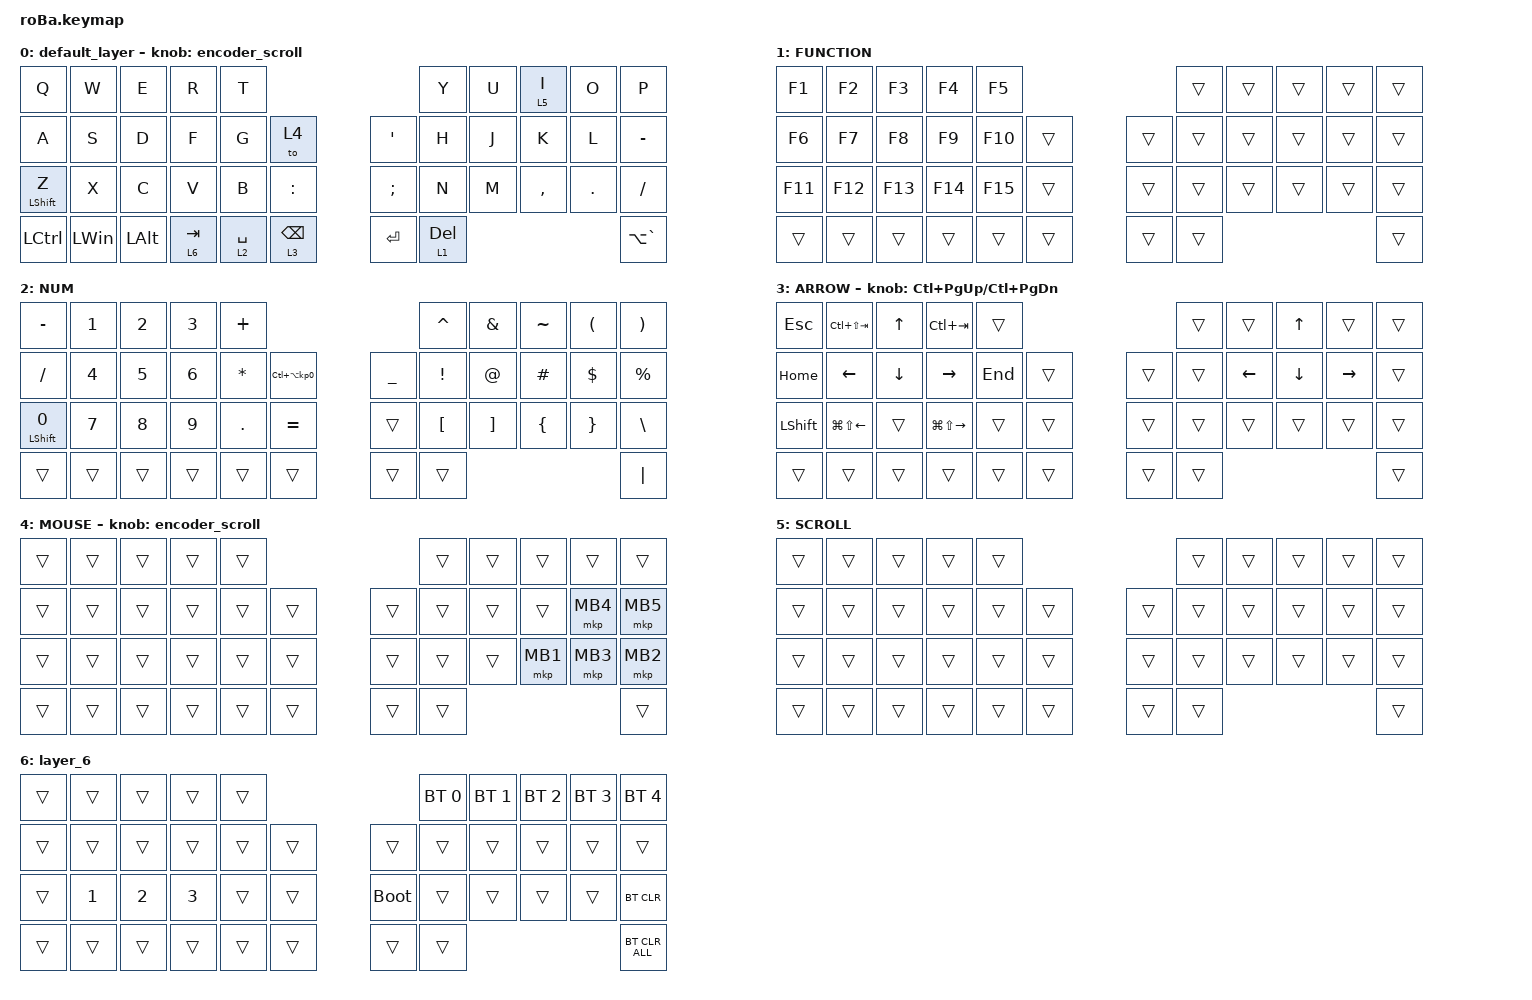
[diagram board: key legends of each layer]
#include <input/processors.dtsi>
#include <zephyr/dt-bindings/input/input-event-codes.h>
#include <behaviors.dtsi>
#include <dt-bindings/zmk/bt.h>
#include <dt-bindings/zmk/keys.h>
#include <dt-bindings/zmk/pointing.h>

#define ZMK_POINTING_DEFAULT_SCRL_VAL 80

&mt {
    flavor = "balanced";
    quick-tap-ms = <0>;
};

/*
 * Temporary Mouse Layer
 *
 * - 通常キーの入力から500msはポインター入力を破棄（連続入力で延長）
 * - レイヤー4をマウスレイヤーとして使用
 * - トラックボール停止後700msで解除
 * - マウス操作キーではAMLを解除しない
 * - それ以外のキーを押すとAMLを解除
 */

&zip_temp_layer {
    require-prior-idle-ms = <250>;
    excluded-positions = <20 21 31 32 33>;
};

/ {
    input_processors {
        key_guard: key_guard {
            compatible = "gurumada,input-processor-key-guard";
            #input-processor-cells = <0>;
            post-release-ms = <500>;
            excluded-positions = <7 20 21 31 32 33>;
        };
    };
};

&trackball_listener {
    input-processors = <&zip_temp_layer 4 700>, <&key_guard>;

    scroll_passthrough {
        layers = <5>;
        input-processors = <&key_guard>, <&zip_scroll_scaler 1 1>;
    };

    mouse_passthrough {
        layers = <4>;
        input-processors = <&key_guard>, <&zip_temp_layer 4 700>;
    };
};

&trackball {
    /*
     * PMW3610ドライバー側の旧AMLを削除します。
     * Input Processor側と二重に動作させないために必要です。
     */

    /delete-property/ automouse-layer;

    scroll-layers = <5>;

    // arrows {
    //     layers = <3>;
    //     bindings =
    //         <&kp RIGHT_ARROW>,
    //         <&kp LEFT_ARROW>,
    //         <&kp UP_ARROW>,
    //         <&kp DOWN_ARROW>;
    //     tick = <10>;
    //     wait-ms = <5>;
    //     tap-ms = <5>;
    // };
};

/ {
    combos {
        compatible = "zmk,combos";

        tab {
            bindings = <&kp TAB>;
            key-positions = <11 12>;
        };

        shift_tab {
            bindings = <&kp LS(TAB)>;
            key-positions = <12 13>;
        };

        muhennkann {
            bindings = <&to_layer_0 INT_MUHENKAN>;
            key-positions = <11 10>;
        };

        double_quotation {
            bindings = <&kp DOUBLE_QUOTES>;
            key-positions = <20 21>;
        };

        eq {
            bindings = <&kp EQUAL>;
            key-positions = <24 25>;
        };
    };

    macros {
        to_layer_0: to_layer_0 {
            compatible = "zmk,behavior-macro-one-param";
            #binding-cells = <1>;
            bindings = <&to 0 &macro_param_1to1 &kp MACRO_PLACEHOLDER>;
            label = "TO_LAYER_0";
        };
    };

    behaviors {
        lt_to_layer_0: lt_to_layer_0 {
            compatible = "zmk,behavior-hold-tap";
            label = "LAYER_TAP_TO_0";
            bindings = <&mo>, <&to_layer_0>;

            #binding-cells = <2>;
            tapping-term-ms = <200>;
        };

        encoder_scroll: encoder_scroll {
            compatible = "zmk,behavior-sensor-rotate";
            #sensor-binding-cells = <0>;
            bindings = <&msc SCRL_UP>, <&msc SCRL_DOWN>;

            label = "ENCODER_SCROLL";
            tap-ms = <20>;
        };
    };

    keymap {
        compatible = "zmk,keymap";

        default_layer {
            bindings = <
&kp Q             &kp W         &kp E         &kp R                 &kp T                                                       &kp Y         &kp U  &lt 5 I    &kp O    &kp P
&kp A             &kp S         &kp D         &kp F                 &kp G        &to 4                           &kp APOS       &kp H         &kp J  &kp K      &kp L    &kp MINUS
&mt LEFT_SHIFT Z  &kp X         &kp C         &kp V                 &kp B        &kp COLON                       &kp SEMICOLON  &kp N         &kp M  &kp COMMA  &kp DOT  &kp SLASH
&kp LCTRL         &kp LEFT_WIN  &kp LEFT_ALT  &lt_to_layer_0 6 TAB  &lt 2 SPACE  &lt_to_layer_0 3 BACKSPACE      &kp ENTER      &lt 1 DELETE                             &kp LA(GRAVE)
            >;

            sensor-bindings = <&encoder_scroll>;
        };

        FUNCTION {
            bindings = <
&kp F1   &kp F2   &kp F3   &kp F4   &kp F5                       &trans  &trans  &trans  &trans  &trans
&kp F6   &kp F7   &kp F8   &kp F9   &kp F10  &trans      &trans  &trans  &trans  &trans  &trans  &trans
&kp F11  &kp F12  &kp F13  &kp F14  &kp F15  &trans      &trans  &trans  &trans  &trans  &trans  &trans
&trans   &trans   &trans   &trans   &trans   &trans      &trans  &trans                          &trans
            >;
        };

        NUM {
            bindings = <
&kp MINUS          &kp N1  &kp N2  &kp N3  &kp PLUS                                                   &kp CARET         &kp AMPERSAND      &kp TILDE       &kp LEFT_PARENTHESIS  &kp RIGHT_PARENTHESIS
&kp SLASH          &kp N4  &kp N5  &kp N6  &kp ASTERISK  &kp LC(LA(KP_NUMBER_0))      &kp UNDERSCORE  &kp EXCLAMATION   &kp AT_SIGN        &kp HASH        &kp DOLLAR            &kp PERCENT
&mt LEFT_SHIFT N0  &kp N7  &kp N8  &kp N9  &kp PERIOD    &kp EQUAL                    &trans          &kp LEFT_BRACKET  &kp RIGHT_BRACKET  &kp LEFT_BRACE  &kp RIGHT_BRACE       &kp BACKSLASH
&trans             &trans  &trans  &trans  &trans        &trans                       &trans          &trans                                                                     &kp PIPE
            >;
        };

        ARROW {
            bindings = <
&kp ESCAPE      &kp LC(LS(TAB))         &kp UP_ARROW    &kp LC(TAB)              &trans                       &trans  &trans          &kp UP_ARROW    &trans           &trans
&kp HOME        &kp LEFT_ARROW          &kp DOWN_ARROW  &kp RIGHT_ARROW          &kp END  &trans      &trans  &trans  &kp LEFT_ARROW  &kp DOWN_ARROW  &kp RIGHT_ARROW  &trans
&kp LEFT_SHIFT  &kp LG(LS(LEFT_ARROW))  &trans          &kp LG(LS(RIGHT_ARROW))  &trans   &trans      &trans  &trans  &trans          &trans          &trans           &trans
&trans          &trans                  &trans          &trans                   &trans   &trans      &trans  &trans                                                   &trans
            >;

            sensor-bindings = <&inc_dec_kp LC(PAGE_UP) LC(PAGE_DOWN)>;
        };

        MOUSE {
            bindings = <
&trans  &trans  &trans  &trans  &trans                      &trans  &trans  &trans    &trans    &trans
&trans  &trans  &trans  &trans  &trans  &trans      &trans  &trans  &trans  &trans    &mkp MB4  &mkp MB5
&trans  &trans  &trans  &trans  &trans  &trans      &trans  &trans  &trans  &mkp MB1  &mkp MB3  &mkp MB2
&trans  &trans  &trans  &trans  &trans  &trans      &trans  &trans                              &trans
            >;

            sensor-bindings = <&encoder_scroll>;
        };

        SCROLL {
            bindings = <
&trans  &trans  &trans  &trans  &trans                      &trans  &trans  &trans  &trans  &trans
&trans  &trans  &trans  &trans  &trans  &trans      &trans  &trans  &trans  &trans  &trans  &trans
&trans  &trans  &trans  &trans  &trans  &trans      &trans  &trans  &trans  &trans  &trans  &trans
&trans  &trans  &trans  &trans  &trans  &trans      &trans  &trans                          &trans
            >;
        };

        layer_6 {
            bindings = <
&trans  &trans        &trans        &trans        &trans                           &bt BT_SEL 0  &bt BT_SEL 1  &bt BT_SEL 2  &bt BT_SEL 3  &bt BT_SEL 4
&trans  &trans        &trans        &trans        &trans  &trans      &trans       &trans        &trans        &trans        &trans        &trans
&trans  &kp NUMBER_1  &kp NUMBER_2  &kp NUMBER_3  &trans  &trans      &bootloader  &trans        &trans        &trans        &trans        &bt BT_CLR
&trans  &trans        &trans        &trans        &trans  &trans      &trans       &trans                                                  &bt BT_CLR_ALL
            >;
        };
    };
};
